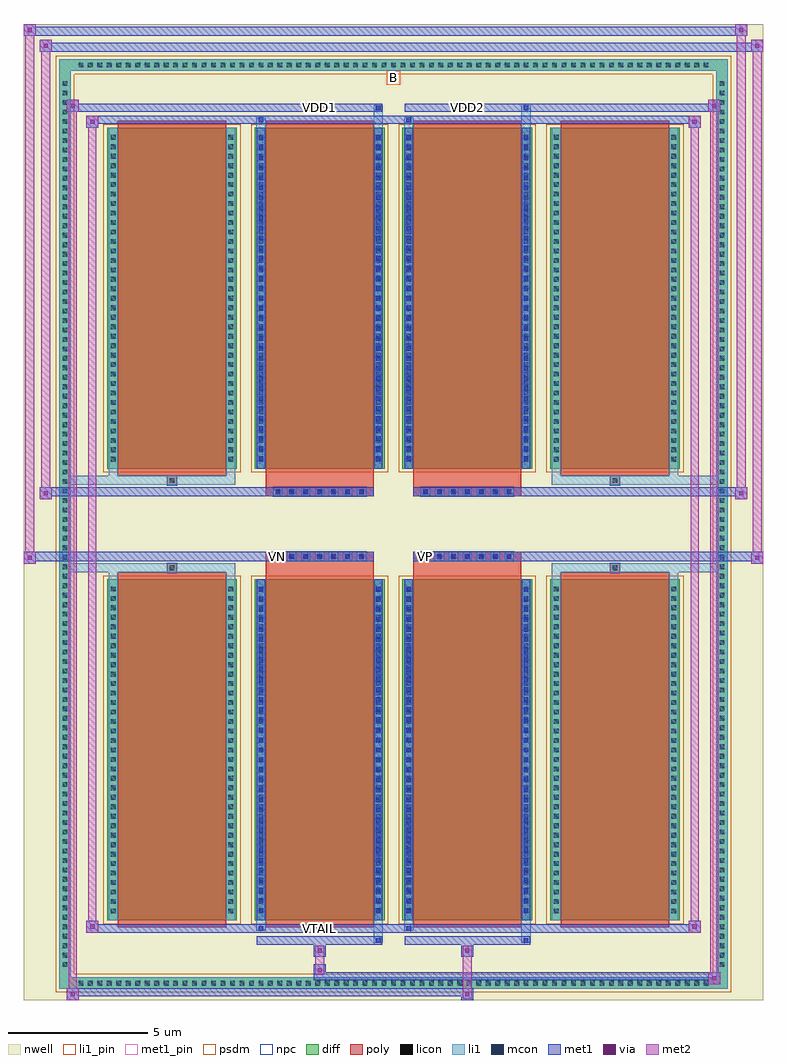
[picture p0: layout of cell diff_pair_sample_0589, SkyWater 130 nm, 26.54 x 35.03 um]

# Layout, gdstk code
import gdstk
lib = gdstk.Library(unit=1e-6, precision=5e-09)
def R(c, l, rs):  # rectangles x0, y0, x1, y1
    for r in rs: c.add(gdstk.rectangle(r[:2], r[2:], *l))
def A(c, l, x, y, w, h, nx, ny, dx, dy):  # array of equal rectangles
    R(c, l, [(x+i*dx, y+j*dy, x+i*dx+w, y+j*dy+h) for i in range(nx) for j in range(ny)])
def P(c, l, *ps):  # polygons
    for p in ps: c.add(gdstk.Polygon(p, *l))
nwell = (64, 20)
diff = (65, 20)
poly = (66, 20)
licon = (66, 44)
li1_pin = (67, 16)
li1 = (67, 20)
mcon = (67, 44)
met1_pin = (68, 16)
met1 = (68, 20)
via = (68, 44)
met2 = (69, 20)
psdm = (94, 20)
npc = (95, 20)

diff_pair_sample_0589 = lib.new_cell('diff_pair_sample_0589')
R(diff_pair_sample_0589, nwell, [(-13.27,-17.08,13.27,17.95), (-10.59,-15.27,-0.01,-0.795), (0.01,-15.27,10.59,-0.795), (-10.59,0.795,-0.01,15.27), (0.01,0.795,10.59,15.27)])
A(diff_pair_sample_0589, diff, -11.425, -16.68, 0.41, 0.41, 67, 2, 0.34, 32.95)
A(diff_pair_sample_0589, diff, -12, -16.015, 0.41, 0.41, 1, 94, 0, 0.34)
A(diff_pair_sample_0589, diff, 11.59, -16.015, 0.41, 0.41, 1, 94, 0, 0.34)
A(diff_pair_sample_0589, diff, -10.28, -14.225, 4.66, 12.24, 4, 2, 5.3, 16.21)
R(diff_pair_sample_0589, diff, [(-11.425,-16.68,11.425,-16.27), (-12,-16.015,-11.59,16.015), (11.59,-16.015,12,16.015), (-11.425,16.27,11.425,16.68)])
P(diff_pair_sample_0589, diff, [(12,16.68),(-12,16.68),(-12,-16.27),(-11.59,-16.27),(-11.59,16.27),(11.59,16.27),(11.59,-16.27),(-11.59,-16.27),(-12,-16.27),(-12,-16.68),(12,-16.68)])
A(diff_pair_sample_0589, poly, -9.89, -14.475, 3.88, 12.74, 4, 2, 5.3, 16.21)
A(diff_pair_sample_0589, poly, -4.315, -1.325, 0.33, 0.33, 7, 2, 0.5, 2.32)
A(diff_pair_sample_0589, poly, 0.985, -1.325, 0.33, 0.33, 7, 2, 0.5, 2.32)
R(diff_pair_sample_0589, poly, [(-8.115,-1.735,-7.785,-1.405), (-8.115,-1.735,-7.785,-1.405), (-4.59,-1.735,-0.71,-1.325), (0.71,-1.735,4.59,-1.325), (7.785,-1.735,8.115,-1.405), (7.785,-1.735,8.115,-1.405), (-4.59,-1.325,-0.71,-0.995), (0.71,-1.325,4.59,-0.995), (-4.59,0.995,-0.71,1.325), (0.71,0.995,4.59,1.325), (-4.59,1.325,-0.71,1.735), (0.71,1.325,4.59,1.735), (-8.115,1.405,-7.785,1.735), (-8.115,1.405,-7.785,1.735), (7.785,1.405,8.115,1.735), (7.785,1.405,8.115,1.735)])
A(diff_pair_sample_0589, licon, -11.305, -16.56, 0.17, 0.17, 67, 2, 0.34, 32.95)
A(diff_pair_sample_0589, licon, -11.88, -15.895, 0.17, 0.17, 1, 94, 0, 0.34)
A(diff_pair_sample_0589, licon, 11.71, -15.895, 0.17, 0.17, 1, 94, 0, 0.34)
A(diff_pair_sample_0589, licon, -10.14, -13.97, 0.17, 0.17, 1, 35, 0, 0.34)
A(diff_pair_sample_0589, licon, -5.93, -13.97, 0.17, 0.17, 1, 35, 0, 0.34)
A(diff_pair_sample_0589, licon, -4.84, -13.97, 0.17, 0.17, 1, 35, 0, 0.34)
A(diff_pair_sample_0589, licon, -0.63, -13.97, 0.17, 0.17, 1, 35, 0, 0.34)
A(diff_pair_sample_0589, licon, 0.46, -13.97, 0.17, 0.17, 1, 35, 0, 0.34)
A(diff_pair_sample_0589, licon, 4.67, -13.97, 0.17, 0.17, 1, 35, 0, 0.34)
A(diff_pair_sample_0589, licon, 5.76, -13.97, 0.17, 0.17, 1, 35, 0, 0.34)
A(diff_pair_sample_0589, licon, 9.97, -13.97, 0.17, 0.17, 1, 35, 0, 0.34)
A(diff_pair_sample_0589, licon, -4.235, -1.245, 0.17, 0.17, 7, 2, 0.5, 2.32)
A(diff_pair_sample_0589, licon, 1.065, -1.245, 0.17, 0.17, 7, 2, 0.5, 2.32)
A(diff_pair_sample_0589, licon, -10.14, 2.24, 0.17, 0.17, 1, 35, 0, 0.34)
A(diff_pair_sample_0589, licon, -5.93, 2.24, 0.17, 0.17, 1, 35, 0, 0.34)
A(diff_pair_sample_0589, licon, -4.84, 2.24, 0.17, 0.17, 1, 35, 0, 0.34)
A(diff_pair_sample_0589, licon, -0.63, 2.24, 0.17, 0.17, 1, 35, 0, 0.34)
A(diff_pair_sample_0589, licon, 0.46, 2.24, 0.17, 0.17, 1, 35, 0, 0.34)
A(diff_pair_sample_0589, licon, 4.67, 2.24, 0.17, 0.17, 1, 35, 0, 0.34)
A(diff_pair_sample_0589, licon, 5.76, 2.24, 0.17, 0.17, 1, 35, 0, 0.34)
A(diff_pair_sample_0589, licon, 9.97, 2.24, 0.17, 0.17, 1, 35, 0, 0.34)
R(diff_pair_sample_0589, licon, [(-8.035,-1.655,-7.865,-1.485), (7.865,-1.655,8.035,-1.485), (-8.035,1.485,-7.865,1.655), (7.865,1.485,8.035,1.655)])
R(diff_pair_sample_0589, li1_pin, [(-0.25,15.77,0.25,16.27)])
A(diff_pair_sample_0589, li1, -11.385, -16.64, 0.33, 0.33, 67, 2, 0.34, 32.95)
A(diff_pair_sample_0589, li1, -11.96, -15.975, 0.33, 0.33, 1, 94, 0, 0.34)
A(diff_pair_sample_0589, li1, 11.63, -15.975, 0.33, 0.33, 1, 94, 0, 0.34)
A(diff_pair_sample_0589, li1, -10.22, -14.05, 0.33, 0.33, 1, 35, 0, 0.34)
A(diff_pair_sample_0589, li1, -6.01, -14.05, 0.33, 0.33, 1, 35, 0, 0.34)
A(diff_pair_sample_0589, li1, -4.92, -14.05, 0.33, 0.33, 1, 35, 0, 0.34)
A(diff_pair_sample_0589, li1, -0.71, -14.05, 0.33, 0.33, 1, 35, 0, 0.34)
A(diff_pair_sample_0589, li1, 0.38, -14.05, 0.33, 0.33, 1, 35, 0, 0.34)
A(diff_pair_sample_0589, li1, 4.59, -14.05, 0.33, 0.33, 1, 35, 0, 0.34)
A(diff_pair_sample_0589, li1, 5.68, -14.05, 0.33, 0.33, 1, 35, 0, 0.34)
A(diff_pair_sample_0589, li1, 9.89, -14.05, 0.33, 0.33, 1, 35, 0, 0.34)
A(diff_pair_sample_0589, li1, -4.84, -13.95, 0.17, 0.17, 1, 33, 0, 0.36)
A(diff_pair_sample_0589, li1, -0.63, -13.95, 0.17, 0.17, 1, 33, 0, 0.36)
A(diff_pair_sample_0589, li1, 0.46, -13.95, 0.17, 0.17, 1, 33, 0, 0.36)
A(diff_pair_sample_0589, li1, 4.67, -13.95, 0.17, 0.17, 1, 33, 0, 0.36)
A(diff_pair_sample_0589, li1, -4.315, -1.325, 0.33, 0.33, 7, 2, 0.5, 2.32)
A(diff_pair_sample_0589, li1, 0.985, -1.325, 0.33, 0.33, 7, 2, 0.5, 2.32)
A(diff_pair_sample_0589, li1, -10.22, 2.16, 0.33, 0.33, 1, 35, 0, 0.34)
A(diff_pair_sample_0589, li1, -6.01, 2.16, 0.33, 0.33, 1, 35, 0, 0.34)
A(diff_pair_sample_0589, li1, -4.92, 2.16, 0.33, 0.33, 1, 35, 0, 0.34)
A(diff_pair_sample_0589, li1, -0.71, 2.16, 0.33, 0.33, 1, 35, 0, 0.34)
A(diff_pair_sample_0589, li1, 0.38, 2.16, 0.33, 0.33, 1, 35, 0, 0.34)
A(diff_pair_sample_0589, li1, 4.59, 2.16, 0.33, 0.33, 1, 35, 0, 0.34)
A(diff_pair_sample_0589, li1, 5.68, 2.16, 0.33, 0.33, 1, 35, 0, 0.34)
A(diff_pair_sample_0589, li1, 9.89, 2.16, 0.33, 0.33, 1, 35, 0, 0.34)
A(diff_pair_sample_0589, li1, -4.84, 2.26, 0.17, 0.17, 1, 33, 0, 0.36)
A(diff_pair_sample_0589, li1, -0.63, 2.26, 0.17, 0.17, 1, 33, 0, 0.36)
A(diff_pair_sample_0589, li1, 0.46, 2.26, 0.17, 0.17, 1, 33, 0, 0.36)
A(diff_pair_sample_0589, li1, 4.67, 2.26, 0.17, 0.17, 1, 33, 0, 0.36)
R(diff_pair_sample_0589, li1, [(-12,-16.68,-11.59,-16.27), (-12,-16.68,-11.59,-16.27), (-11.59,-16.68,11.59,-16.27), (11.59,-16.68,12,-16.27), (11.59,-16.68,12,-16.27), (-12,-16.27,-11.59,16.27), (11.59,-16.27,12,16.27), (-0.71,-15.03,-0.38,-14.225), (-0.63,-15.03,-0.46,-14.86), (4.59,-15.03,4.92,-14.225), (4.67,-15.03,4.84,-14.86), (-4.92,-14.6,-4.59,-14.225), (-4.84,-14.6,-4.67,-14.43), (0.38,-14.6,0.71,-14.225), (0.46,-14.6,0.63,-14.43), (-10.22,-14.225,-9.89,-1.985), (-6.01,-14.225,-5.68,-1.985), (-4.92,-14.225,-4.59,-1.985), (-0.71,-14.225,-0.38,-1.985), (0.38,-14.225,0.71,-1.985), (4.59,-14.225,4.92,-1.985), (5.68,-14.225,6.01,-1.985), (9.89,-14.225,10.22,-1.985), (-4.84,-13.95,-4.67,-2.26), (-0.63,-13.95,-0.46,-2.26), (0.46,-13.95,0.63,-2.26), (4.67,-13.95,4.84,-2.26), (-10.22,-1.985,-9.89,-1.405), (-6.01,-1.985,-5.68,-1.405), (5.68,-1.985,6.01,-1.405), (9.89,-1.985,10.22,-1.405), (-12,-1.735,-8.115,-1.405), (-10.22,-1.735,-8.115,-1.405), (-8.115,-1.735,-7.785,-1.405), (-7.785,-1.735,-5.68,-1.405), (5.68,-1.735,7.785,-1.405), (7.785,-1.735,8.115,-1.405), (7.785,-1.735,12,-1.405), (8.115,-1.735,10.22,-1.405), (-12,1.405,-8.115,1.735), (-10.22,1.405,-8.115,1.735), (-10.22,1.405,-9.89,1.985), (-8.115,1.405,-7.785,1.735), (-7.785,1.405,-5.68,1.735), (-6.01,1.405,-5.68,1.985), (5.68,1.405,7.785,1.735), (5.68,1.405,6.01,1.985), (7.785,1.405,8.115,1.735), (7.785,1.405,12,1.735), (8.115,1.405,10.22,1.735), (9.89,1.405,10.22,1.985), (-10.22,1.985,-9.89,14.225), (-6.01,1.985,-5.68,14.225), (-4.92,1.985,-4.59,14.225), (-0.71,1.985,-0.38,14.225), (0.38,1.985,0.71,14.225), (4.59,1.985,4.92,14.225), (5.68,1.985,6.01,14.225), (9.89,1.985,10.22,14.225), (-4.84,2.26,-4.67,13.95), (-0.63,2.26,-0.46,13.95), (0.46,2.26,0.63,13.95), (4.67,2.26,4.84,13.95), (-4.92,14.225,-4.59,14.6), (-0.71,14.225,-0.38,15.03), (0.38,14.225,0.71,14.6), (4.59,14.225,4.92,15.03), (-4.84,14.43,-4.67,14.6), (0.46,14.43,0.63,14.6), (-0.63,14.86,-0.46,15.03), (4.67,14.86,4.84,15.03), (-12,16.27,-11.59,16.68), (-12,16.27,-11.59,16.68), (-11.59,16.27,11.59,16.68), (11.59,16.27,12,16.68), (11.59,16.27,12,16.68)])
A(diff_pair_sample_0589, mcon, -4.84, -13.95, 0.17, 0.17, 1, 33, 0, 0.36)
A(diff_pair_sample_0589, mcon, -0.63, -13.95, 0.17, 0.17, 1, 33, 0, 0.36)
A(diff_pair_sample_0589, mcon, 0.46, -13.95, 0.17, 0.17, 1, 33, 0, 0.36)
A(diff_pair_sample_0589, mcon, 4.67, -13.95, 0.17, 0.17, 1, 33, 0, 0.36)
A(diff_pair_sample_0589, mcon, -4.235, -1.245, 0.17, 0.17, 7, 2, 0.5, 2.32)
A(diff_pair_sample_0589, mcon, 1.065, -1.245, 0.17, 0.17, 7, 2, 0.5, 2.32)
A(diff_pair_sample_0589, mcon, -4.84, 2.26, 0.17, 0.17, 1, 33, 0, 0.36)
A(diff_pair_sample_0589, mcon, -0.63, 2.26, 0.17, 0.17, 1, 33, 0, 0.36)
A(diff_pair_sample_0589, mcon, 0.46, 2.26, 0.17, 0.17, 1, 33, 0, 0.36)
A(diff_pair_sample_0589, mcon, 4.67, 2.26, 0.17, 0.17, 1, 33, 0, 0.36)
R(diff_pair_sample_0589, mcon, [(-0.63,-15.03,-0.46,-14.86), (4.67,-15.03,4.84,-14.86), (-4.84,-14.6,-4.67,-14.43), (0.46,-14.6,0.63,-14.43), (-4.84,14.43,-4.67,14.6), (0.46,14.43,0.63,14.6), (-0.63,14.86,-0.46,15.03), (4.67,14.86,4.84,15.03)])
R(diff_pair_sample_0589, met1_pin, [(-2.785,-14.64,-2.515,-14.37), (-4.285,-1.285,-4.015,-1.015), (1.015,-1.285,1.285,-1.015), (-2.785,14.82,-2.515,15.09), (2.515,14.82,2.785,15.09)])
A(diff_pair_sample_0589, met1, -4.9, -14.01, 0.29, 0.29, 1, 33, 0, 0.36)
A(diff_pair_sample_0589, met1, -0.69, -14.01, 0.29, 0.29, 1, 33, 0, 0.36)
A(diff_pair_sample_0589, met1, 0.4, -14.01, 0.29, 0.29, 1, 33, 0, 0.36)
A(diff_pair_sample_0589, met1, 4.61, -14.01, 0.29, 0.29, 1, 33, 0, 0.36)
A(diff_pair_sample_0589, met1, -4.295, -1.305, 0.29, 0.29, 7, 2, 0.5, 2.32)
A(diff_pair_sample_0589, met1, 1.005, -1.305, 0.29, 0.29, 7, 2, 0.5, 2.32)
A(diff_pair_sample_0589, met1, -4.9, 2.2, 0.29, 0.29, 1, 33, 0, 0.36)
A(diff_pair_sample_0589, met1, -0.69, 2.2, 0.29, 0.29, 1, 33, 0, 0.36)
A(diff_pair_sample_0589, met1, 0.4, 2.2, 0.29, 0.29, 1, 33, 0, 0.36)
A(diff_pair_sample_0589, met1, 4.61, 2.2, 0.29, 0.29, 1, 33, 0, 0.36)
R(diff_pair_sample_0589, met1, [(-11.73,-17.08,-11.3,-16.65), (2.435,-17.08,2.865,-16.65), (-11.73,-16.94,2.865,-16.65), (11.3,-16.51,11.73,-16.08), (-2.865,-16.37,11.73,-16.08), (-2.865,-16.23,-2.435,-15.8), (-2.865,-15.52,-2.435,-15.09), (2.435,-15.52,2.865,-15.09), (-4.9,-15.09,-0.4,-14.8), (-0.69,-15.09,-0.4,-14.8), (0.4,-15.09,4.9,-14.8), (4.61,-15.09,4.9,-14.8), (-11.02,-14.66,-10.59,-14.23), (-11.02,-14.66,-4.9,-14.37), (-4.9,-14.66,-4.61,-14.37), (-4.9,-14.66,-0.4,-14.37), (-0.4,-14.66,0.4,-14.37), (0.4,-14.66,0.69,-14.37), (0.4,-14.66,4.9,-14.37), (4.9,-14.66,11.02,-14.37), (10.59,-14.66,11.02,-14.23), (-4.9,-14.225,-4.61,-1.985), (-0.69,-14.225,-0.4,-1.985), (0.4,-14.225,0.69,-1.985), (4.61,-14.225,4.9,-1.985), (-13.27,-1.425,-12.84,-0.995), (12.84,-1.425,13.27,-0.995), (-13.27,-1.325,-0.71,-0.995), (-4.59,-1.325,-0.71,-0.995), (0.71,-1.325,4.59,-0.995), (0.71,-1.325,13.27,-0.995), (-12.7,0.895,-12.27,1.325), (12.27,0.895,12.7,1.325), (-12.7,0.995,-4.59,1.325), (-4.59,0.995,-0.71,1.325), (0.71,0.995,4.59,1.325), (4.59,0.995,12.7,1.325), (-4.9,1.985,-4.61,14.225), (-0.69,1.985,-0.4,14.225), (0.4,1.985,0.69,14.225), (4.61,1.985,4.9,14.225), (-11.02,14.23,-10.59,14.66), (10.59,14.23,11.02,14.66), (-11.02,14.37,-4.9,14.66), (-4.9,14.37,-4.61,14.66), (-4.9,14.37,-0.4,14.66), (-0.4,14.37,0.4,14.66), (0.4,14.37,0.69,14.66), (0.4,14.37,4.9,14.66), (4.9,14.37,11.02,14.66), (-11.73,14.8,-11.3,15.23), (-11.73,14.8,-4.9,15.09), (-4.9,14.8,-0.4,15.09), (-0.69,14.8,-0.4,15.09), (0.4,14.8,4.9,15.09), (4.61,14.8,4.9,15.09), (4.9,14.8,11.73,15.09), (11.3,14.8,11.73,15.23), (-12.7,16.95,-12.27,17.38), (-12.7,16.95,-10.59,17.28), (-10.59,16.95,10.59,17.28), (10.59,16.95,13.27,17.28), (12.84,16.95,13.27,17.38), (-13.27,17.52,-12.84,17.95), (-13.27,17.52,-10.59,17.85), (-10.59,17.52,10.59,17.85), (10.59,17.52,12.7,17.85), (12.27,17.52,12.7,17.95)])
R(diff_pair_sample_0589, via, [(-11.59,-16.94,-11.44,-16.79), (2.575,-16.94,2.725,-16.79), (11.44,-16.37,11.59,-16.22), (-2.725,-16.09,-2.575,-15.94), (-2.725,-15.38,-2.575,-15.23), (2.575,-15.38,2.725,-15.23), (-10.88,-14.52,-10.73,-14.37), (10.73,-14.52,10.88,-14.37), (-13.13,-1.285,-12.98,-1.135), (12.98,-1.285,13.13,-1.135), (-12.56,1.035,-12.41,1.185), (12.41,1.035,12.56,1.185), (-10.88,14.37,-10.73,14.52), (10.73,14.37,10.88,14.52), (-11.59,14.94,-11.44,15.09), (11.44,14.94,11.59,15.09), (-12.56,17.09,-12.41,17.24), (12.98,17.09,13.13,17.24), (-13.13,17.66,-12.98,17.81), (12.41,17.66,12.56,17.81)])
R(diff_pair_sample_0589, met2, [(-11.73,-17.08,-11.3,-16.65), (-11.66,-17.08,-11.37,15.23), (-11.37,-17.08,-11.3,-16.65), (-11.68,-17.03,-11.35,-16.7), (2.485,-17.03,2.815,-16.7), (2.485,-16.7,2.815,-15.47), (11.3,-16.51,11.73,-16.08), (11.37,-16.51,11.66,15.23), (11.66,-16.51,11.73,-16.08), (11.35,-16.46,11.68,-16.13), (-2.815,-16.18,-2.485,-15.85), (-2.815,-15.85,-2.485,-15.47), (-2.815,-15.47,-2.485,-15.14), (2.485,-15.47,2.815,-15.14), (-11.02,-14.66,-10.59,-14.23), (-10.95,-14.66,-10.66,14.66), (-10.66,-14.66,-10.59,-14.23), (10.59,-14.66,11.02,-14.23), (10.66,-14.66,10.95,14.66), (10.95,-14.66,11.02,-14.23), (-10.97,-14.61,-10.64,-14.28), (10.64,-14.61,10.97,-14.28), (-13.27,-1.425,-12.84,-0.995), (-13.22,-1.425,-12.89,17.95), (-12.89,-1.425,-12.84,-0.995), (12.84,-1.425,13.27,-0.995), (12.89,-1.425,13.22,17.38), (13.22,-1.425,13.27,-0.995), (-13.22,-1.375,-12.89,-1.045), (12.89,-1.375,13.22,-1.045), (-12.7,0.895,-12.27,1.325), (-12.65,0.895,-12.32,17.38), (-12.32,0.895,-12.27,1.325), (12.27,0.895,12.7,1.325), (12.32,0.895,12.65,17.95), (12.65,0.895,12.7,1.325), (-12.65,0.945,-12.32,1.275), (12.32,0.945,12.65,1.275), (-11.02,14.23,-10.59,14.66), (-10.66,14.23,-10.59,14.66), (10.59,14.23,11.02,14.66), (10.95,14.23,11.02,14.66), (-10.97,14.28,-10.64,14.61), (10.64,14.28,10.97,14.61), (-11.73,14.8,-11.3,15.23), (-11.37,14.8,-11.3,15.23), (11.3,14.8,11.73,15.23), (11.66,14.8,11.73,15.23), (-11.68,14.85,-11.35,15.18), (11.35,14.85,11.68,15.18), (-12.7,16.95,-12.27,17.38), (-12.32,16.95,-12.27,17.38), (12.84,16.95,13.27,17.38), (13.22,16.95,13.27,17.38), (-12.65,17,-12.32,17.33), (12.89,17,13.22,17.33), (-13.27,17.52,-12.84,17.95), (-12.89,17.52,-12.84,17.95), (12.27,17.52,12.7,17.95), (12.65,17.52,12.7,17.95), (-13.22,17.57,-12.89,17.9), (12.32,17.57,12.65,17.9)])
A(diff_pair_sample_0589, psdm, -10.41, -14.355, 4.92, 12.5, 4, 2, 5.3, 16.21)
P(diff_pair_sample_0589, psdm, [(12.13,16.81),(-12.13,16.81),(-12.13,-16.14),(-11.46,-16.14),(-11.46,16.14),(11.46,16.14),(11.46,-16.14),(-11.46,-16.14),(-12.13,-16.14),(-12.13,-16.81),(12.13,-16.81)])
A(diff_pair_sample_0589, npc, -4.335, -1.345, 0.37, 0.37, 7, 2, 0.5, 2.32)
A(diff_pair_sample_0589, npc, 0.965, -1.345, 0.37, 0.37, 7, 2, 0.5, 2.32)
R(diff_pair_sample_0589, npc, [(-8.135,-1.755,-7.765,-1.385), (7.765,-1.755,8.135,-1.385), (-4.335,-1.345,-3.465,-0.975), (-4.335,-1.345,-3.465,-0.975), (-3.835,-1.345,-2.965,-0.975), (-3.835,-1.345,-2.965,-0.975), (-3.335,-1.345,-2.465,-0.975), (-3.335,-1.345,-2.465,-0.975), (-2.835,-1.345,-1.965,-0.975), (-2.835,-1.345,-1.965,-0.975), (-2.335,-1.345,-1.465,-0.975), (-2.335,-1.345,-1.465,-0.975), (-1.835,-1.345,-0.965,-0.975), (-1.835,-1.345,-0.965,-0.975), (0.965,-1.345,1.835,-0.975), (0.965,-1.345,1.835,-0.975), (1.465,-1.345,2.335,-0.975), (1.465,-1.345,2.335,-0.975), (1.965,-1.345,2.835,-0.975), (1.965,-1.345,2.835,-0.975), (2.465,-1.345,3.335,-0.975), (2.465,-1.345,3.335,-0.975), (2.965,-1.345,3.835,-0.975), (2.965,-1.345,3.835,-0.975), (3.465,-1.345,4.335,-0.975), (3.465,-1.345,4.335,-0.975), (-4.335,0.975,-3.465,1.345), (-4.335,0.975,-3.465,1.345), (-3.835,0.975,-2.965,1.345), (-3.835,0.975,-2.965,1.345), (-3.335,0.975,-2.465,1.345), (-3.335,0.975,-2.465,1.345), (-2.835,0.975,-1.965,1.345), (-2.835,0.975,-1.965,1.345), (-2.335,0.975,-1.465,1.345), (-2.335,0.975,-1.465,1.345), (-1.835,0.975,-0.965,1.345), (-1.835,0.975,-0.965,1.345), (0.965,0.975,1.835,1.345), (0.965,0.975,1.835,1.345), (1.465,0.975,2.335,1.345), (1.465,0.975,2.335,1.345), (1.965,0.975,2.835,1.345), (1.965,0.975,2.835,1.345), (2.465,0.975,3.335,1.345), (2.465,0.975,3.335,1.345), (2.965,0.975,3.835,1.345), (2.965,0.975,3.835,1.345), (3.465,0.975,4.335,1.345), (3.465,0.975,4.335,1.345), (-8.135,1.385,-7.765,1.755), (7.765,1.385,8.135,1.755)])
diff_pair_sample_0589.add(gdstk.Label('VTAIL', (-2.65,-14.505), layer=68, texttype=5))
diff_pair_sample_0589.add(gdstk.Label('VN', (-4.15,-1.15), layer=68, texttype=5))
diff_pair_sample_0589.add(gdstk.Label('VP', (1.15,-1.15), layer=68, texttype=5))
diff_pair_sample_0589.add(gdstk.Label('B', (0,16.02), layer=67, texttype=5))
diff_pair_sample_0589.add(gdstk.Label('VDD2', (2.65,14.955), layer=68, texttype=5))
diff_pair_sample_0589.add(gdstk.Label('VDD1', (-2.65,14.955), layer=68, texttype=5))

lib.write_gds('diff_pair_sample_0589.gds')
